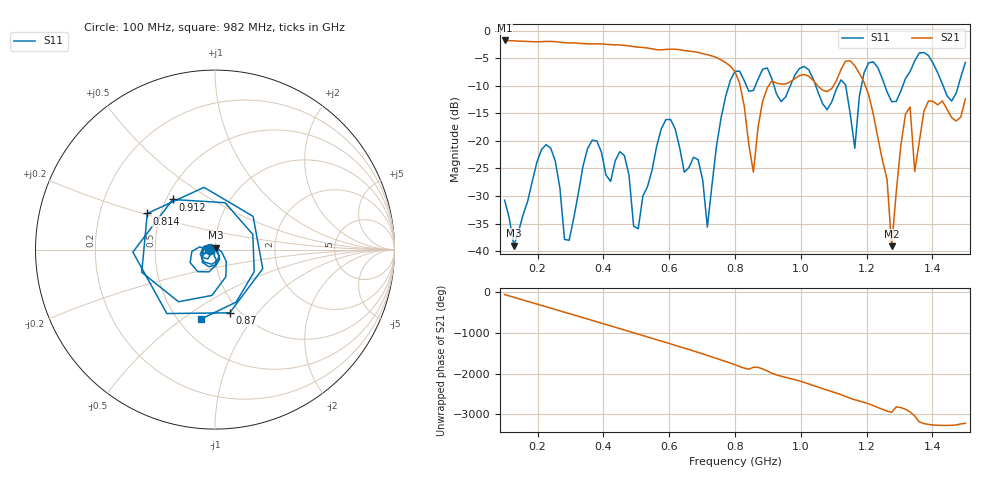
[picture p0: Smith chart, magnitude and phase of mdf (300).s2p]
! NanoVNA-App
! Date: 2025-09-25 15:40:45
! Start: 100MHz Stop: 1,5GHz Points: 101
! S-Parameter data: F S11 S21 S12 S22
# Hz S RI R 50
!  Frequency  S11_Real  S11_Imag  S21_Real  S21_Imag  S12_Real  S12_Imag  S22_Real  S22_Imag
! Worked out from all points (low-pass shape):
!   101 points, 100 MHz to 1.5 GHz, reference 50 ohm
!   highest |S21| = -1.80 dB at 100 MHz (marker M1); lowest = -39.1 dB at 1.276 GHz (marker M2)
!   |S21| within 3 dB of the highest: start of sweep to 739.2 MHz
!   lowest |S11| = -39.0 dB at 128 MHz (marker M3), VSWR 1.02, Z = 50.3 + j1.08 ohm
!   |S11| at or under -10 dB: start of sweep to 781.1 MHz; 918.5 MHz to 968.1 MHz (49.68 MHz wide, 5.27 % of centre); 1.045 GHz to 1.113 GHz (68.07 MHz wide, 6.31 % of centre) (the widest 3 of 7)
!   S12 and S22 are empty: the file has one direction only
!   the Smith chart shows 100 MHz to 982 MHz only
!   S11 on the Smith chart (normalised r, x): 100 MHz: 0.94, -0.01; 814 MHz: 0.42, +0.21; 870 MHz: 0.90, -0.73; 912 MHz: 0.54, +0.35; 982 MHz: 0.64, -0.59
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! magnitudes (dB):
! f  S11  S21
! 100 MHz  -30.7  -1.8
! 128 MHz  -39.0  -1.9
! 212 MHz  -21.6  -2.0
! 282 MHz  -37.9  -2.2
! 338 MHz  -24.6  -2.4
! 464 MHz  -22.7  -2.7
! 506 MHz  -35.9  -3.0
! 576 MHz  -17.8  -3.5
! 716 MHz  -35.6  -4.4
! 800 MHz  -7.4  -7.5
! 814 MHz  -7.4  -9.6
! 856 MHz  -10.9  -25.7
! 870 MHz  -8.8  -17.5
! 912 MHz  -8.8  -9.2
! 982 MHz  -8.1  -8.7
! 1.038 GHz  -8.8  -9.1
! 1.164 GHz  -21.3  -6.4
! 1.192 GHz  -7.7  -9.4
! 1.276 GHz  -12.9  -39.1
! 1.318 GHz  -8.7  -15.2
! 1.346 GHz  -5.5  -25.5
! 1.5 GHz  -5.8  -12.4
